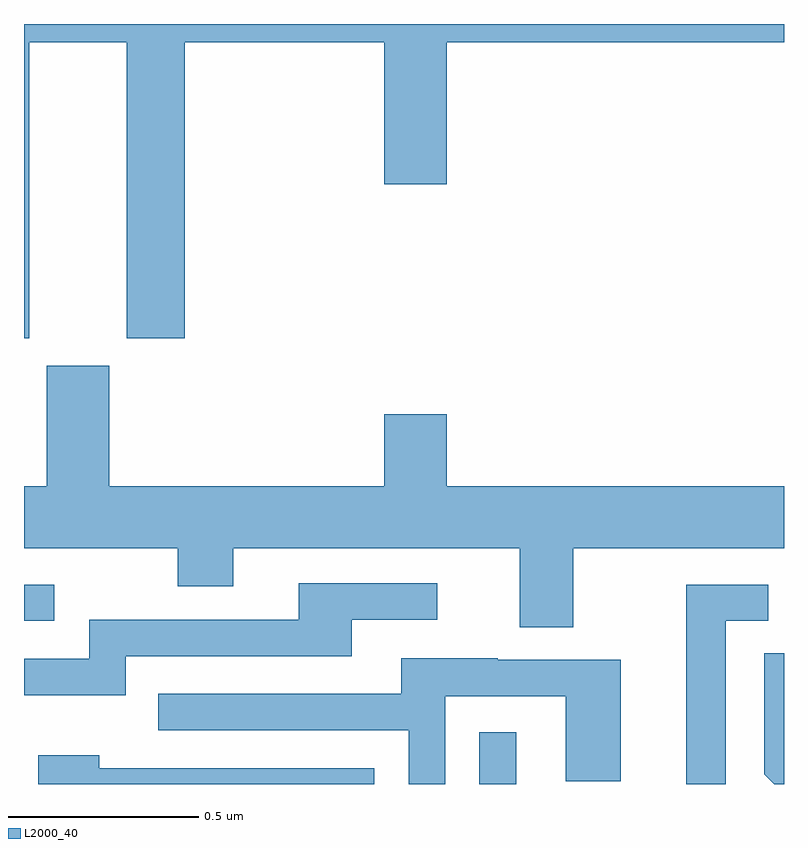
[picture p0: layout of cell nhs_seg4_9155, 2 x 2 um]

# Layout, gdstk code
import gdstk
lib = gdstk.Library(unit=1e-6, precision=1e-09)
def R(c, l, rs):  # rectangles x0, y0, x1, y1
    for r in rs: c.add(gdstk.rectangle(r[:2], r[2:], *l))
def P(c, l, *ps):  # polygons
    for p in ps: c.add(gdstk.Polygon(p, *l))
L2000_40 = (2000, 40)

nhs_seg4_9155 = lib.new_cell('nhs_seg4_9155')
R(nhs_seg4_9155, L2000_40, [(225.198,762.9,225.295,763.036), (224,763.329,224.08,763.425)])
P(nhs_seg4_9155, L2000_40, [(224.014,764.852),(224.27,764.852),(224.27,764.073),(224.423,764.073),(224.423,764.852),(224.948,764.852),(224.948,764.478),(225.112,764.478),(225.112,764.852),(226,764.852),(226,764.9),(224,764.9),(224,764.073),(224.014,764.073)],
  [(225.445,763.52),(226,763.52),(226,763.684),(225.112,763.684),(225.112,763.873),(224.948,763.873),(224.948,763.684),(224.224,763.684),(224.224,764.001),(224.06,764.001),(224.06,763.684),(224,763.684),(224,763.52),(224.404,763.52),(224.404,763.421),(224.551,763.421),(224.551,763.52),(225.305,763.52),(225.305,763.312),(225.445,763.312)],
  [(224.268,763.236),(224.863,763.236),(224.863,763.332),(225.088,763.332),(225.088,763.428),(224.723,763.428),(224.723,763.332),(224.172,763.332),(224.172,763.23),(224,763.23),(224,763.133),(224.268,763.133)],
  [(225.847,763.329),(225.958,763.329),(225.958,763.425),(225.743,763.425),(225.743,762.9),(225.847,762.9)],
  [(226,763.244),(225.948,763.244),(225.948,762.926),(225.974,762.9),(226,762.9)],
  [(225.108,763.131),(225.426,763.131),(225.426,762.907),(225.571,762.907),(225.571,763.227),(225.247,763.227),(225.247,763.231),(224.993,763.231),(224.993,763.137),(224.353,763.137),(224.353,763.041),(225.012,763.041),(225.012,762.9),(225.108,762.9)],
  [(224.922,762.942),(224.198,762.942),(224.198,762.976),(224.037,762.976),(224.037,762.9),(224.922,762.9)])

lib.write_gds('nhs_seg4_9155.gds')
